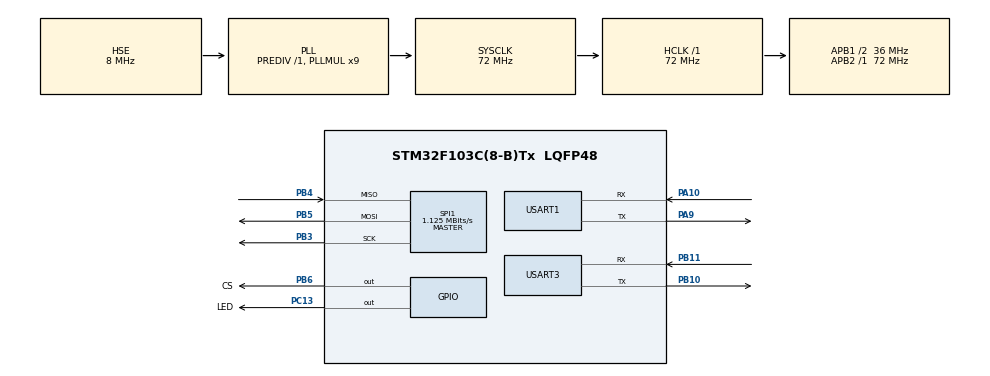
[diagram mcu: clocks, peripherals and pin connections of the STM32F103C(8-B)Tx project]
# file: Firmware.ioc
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Mcu.Family=STM32F1
Mcu.Name=STM32F103C(8-B)Tx
Mcu.Package=LQFP48
NVIC.PriorityGroup=NVIC_PRIORITYGROUP_4
NVIC.TIM3_IRQn=true\:1\:0\:true\:false\:true
PA10.Mode=Asynchronous
PA10.Signal=USART1_RX
PA13.Mode=Serial_Wire
PA13.Signal=SYS_JTMS-SWDIO
PA14.Mode=Serial_Wire
PA14.Signal=SYS_JTCK-SWCLK
PA9.Mode=Asynchronous
PA9.Signal=USART1_TX
PB10.Mode=Asynchronous
PB10.Signal=USART3_TX
PB11.Mode=Asynchronous
PB11.Signal=USART3_RX
PB3.Mode=Full_Duplex_Master
PB3.Signal=SPI1_SCK
PB4.Mode=Full_Duplex_Master
PB4.Signal=SPI1_MISO
PB5.Mode=Full_Duplex_Master
PB5.Signal=SPI1_MOSI
PB6.GPIO_Label=CS
PB6.Signal=GPIO_Output
PC13-TAMPER-RTC.GPIO_Label=LED
PC13-TAMPER-RTC.Signal=GPIO_Output
PD0-OSC_IN.Mode=HSE-External-Oscillator
PD0-OSC_IN.Signal=RCC_OSC_IN
PD1-OSC_OUT.Mode=HSE-External-Oscillator
PD1-OSC_OUT.Signal=RCC_OSC_OUT
ProjectManager.HeapSize=0x200
ProjectManager.StackSize=0x400
ProjectManager.TargetToolchain=SW4STM32
RCC.AHBFreq_Value=72000000
RCC.APB1CLKDivider=RCC_HCLK_DIV2
RCC.APB1Freq_Value=36000000
RCC.APB1TimFreq_Value=72000000
RCC.APB2Freq_Value=72000000
RCC.APB2TimFreq_Value=72000000
RCC.HCLKFreq_Value=72000000
RCC.HSIState=RCC_HSI_ON
RCC.PLLMUL=RCC_PLL_MUL9
RCC.PLLSourceVirtual=RCC_PLLSOURCE_HSE
RCC.SYSCLKFreq_VALUE=72000000
RCC.SYSCLKSource=RCC_SYSCLKSOURCE_PLLCLK
RCC.USBFreq_Value=72000000
SPI1.BaudRatePrescaler=SPI_BAUDRATEPRESCALER_64
SPI1.CalculateBaudRate=1.125 MBits/s
SPI1.Mode=SPI_MODE_MASTER
TIM3.Period=300
TIM3.Prescaler=36000
VP_TIM3_VS_ClockSourceINT.Mode=Internal
board=Firmware

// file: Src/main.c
/**
  ******************************************************************************
  * File Name          : main.c
  * Description        : Main program body
  ******************************************************************************
  *
  * COPYRIGHT(c) 2017 STMicroelectronics
  *
  * Redistribution and use in source and binary forms, with or without modification,
  * are permitted provided that the following conditions are met:
  *   1. Redistributions of source code must retain the above copyright notice,
  *      this list of conditions and the following disclaimer.
  *   2. Redistributions in binary form must reproduce the above copyright notice,
  *      this list of conditions and the following disclaimer in the documentation
  *      and/or other materials provided with the distribution.
  *   3. Neither the name of STMicroelectronics nor the names of its contributors
  *      may be used to endorse or promote products derived from this software
  *      without specific prior written permission.
  *
  * THIS SOFTWARE IS PROVIDED BY THE COPYRIGHT HOLDERS AND CONTRIBUTORS "AS IS"
  * AND ANY EXPRESS OR IMPLIED WARRANTIES, INCLUDING, BUT NOT LIMITED TO, THE
  * IMPLIED WARRANTIES OF MERCHANTABILITY AND FITNESS FOR A PARTICULAR PURPOSE ARE
  * DISCLAIMED. IN NO EVENT SHALL THE COPYRIGHT HOLDER OR CONTRIBUTORS BE LIABLE
  * FOR ANY DIRECT, INDIRECT, INCIDENTAL, SPECIAL, EXEMPLARY, OR CONSEQUENTIAL
  * DAMAGES (INCLUDING, BUT NOT LIMITED TO, PROCUREMENT OF SUBSTITUTE GOODS OR
  * SERVICES; LOSS OF USE, DATA, OR PROFITS; OR BUSINESS INTERRUPTION) HOWEVER
  * CAUSED AND ON ANY THEORY OF LIABILITY, WHETHER IN CONTRACT, STRICT LIABILITY,
  * OR TORT (INCLUDING NEGLIGENCE OR OTHERWISE) ARISING IN ANY WAY OUT OF THE USE
  * OF THIS SOFTWARE, EVEN IF ADVISED OF THE POSSIBILITY OF SUCH DAMAGE.
  *
  ******************************************************************************
  */
#include "main.h"
#include "stm32f1xx_hal.h"

/* USER CODE BEGIN Includes */

#include "enc28j60.h"
#include "ip_arp_udp_tcp.h"
#include "art_net.h"
#include "def.h"

/* USER CODE END Includes */

SPI_HandleTypeDef hspi1;

TIM_HandleTypeDef htim3;

UART_HandleTypeDef huart1;
UART_HandleTypeDef huart3;

/* USER CODE BEGIN PV */
/* Private variables ---------------------------------------------------------*/

uint8_t DMXBuffer[DMX_MAX];

static unsigned char mymac[6] = {0x54,0x55,0x58,0x10,0x00,0x24};
static unsigned char myip[4] = {192,168,0,15};

uint16_t currTick = 0;
uint16_t lastBlinkTick = 0;

/* USER CODE END PV */

void SystemClock_Config(void);
void Error_Handler(void);
static void MX_GPIO_Init(void);
static void MX_SPI1_Init(void);
static void MX_TIM3_Init(void);
static void MX_USART1_UART_Init(void);
static void MX_USART3_UART_Init(void);

/* USER CODE BEGIN PFP */
/* Private function prototypes -----------------------------------------------*/

int _write(int file, char *ptr, int len);
void DMXStart(void);
void DMXWrite(int channel, uint8_t value);
void DMXFlush(void);
void HAL_TIM_PeriodElapsedCallback(TIM_HandleTypeDef *htim);
void outs(char *str);
void HAL_SYSTICK_IRQHandler(void);

/* USER CODE END PFP */

int main(void)
{

  /* MCU Configuration----------------------------------------------------------*/

  /* Reset of all peripherals, Initializes the Flash interface and the Systick. */
  HAL_Init();

  /* Configure the system clock */
  SystemClock_Config();

  /* Initialize all configured peripherals */
  MX_GPIO_Init();
  MX_SPI1_Init();
  MX_TIM3_Init();
  MX_USART1_UART_Init();
  MX_USART3_UART_Init();

  SysTick_Config(SystemCoreClock / 1000);

  /* USER CODE BEGIN 2 */

  outs("Initial Setup complete");
  DMXStart();
  HAL_GPIO_WritePin(LED_GPIO_Port, LED_Pin, GPIO_PIN_RESET);
  HAL_TIM_Base_Start_IT(&htim3);

  outs("Setting up Eth");

  enc28j60Init(mymac);
  init_ip_arp_udp_tcp(mymac,myip);
  //enc28j60PhyWrite(PHLCON,0x7a4);
  enc28j60PhyWrite(PHLCON,0x476);
  enc28j60clkout(2); // change clkout from 6.25MHz to 12.5MHz

  char version;

  outs("Getting enc28j60 version");
  version = (char)enc28j60getrev();
  printf("Version is: %x\r\n", version);

  currTick = HAL_GetTick();
  lastBlinkTick = currTick;

  outs("Done with setup");

  /* USER CODE END 2 */

  /* Infinite loop */
  while (1)
  {

  /* USER CODE BEGIN 3 */

      artnet_server();

	  currTick = HAL_GetTick();
	  if(currTick - lastBlinkTick > blink_delay) {
		  HAL_GPIO_TogglePin(LED_GPIO_Port, LED_Pin);
		  lastBlinkTick = currTick;
	  }

  }
  /* USER CODE END 3 */

}

/** System Clock Configuration
*/
void SystemClock_Config(void)
{

  RCC_OscInitTypeDef RCC_OscInitStruct;
  RCC_ClkInitTypeDef RCC_ClkInitStruct;

    /**Initializes the CPU, AHB and APB busses clocks
    */
  RCC_OscInitStruct.OscillatorType = RCC_OSCILLATORTYPE_HSE;
  RCC_OscInitStruct.HSEState = RCC_HSE_ON;
  RCC_OscInitStruct.HSEPredivValue = RCC_HSE_PREDIV_DIV1;
  RCC_OscInitStruct.HSIState = RCC_HSI_ON;
  RCC_OscInitStruct.PLL.PLLState = RCC_PLL_ON;
  RCC_OscInitStruct.PLL.PLLSource = RCC_PLLSOURCE_HSE;
  RCC_OscInitStruct.PLL.PLLMUL = RCC_PLL_MUL9;
  if (HAL_RCC_OscConfig(&RCC_OscInitStruct) != HAL_OK)
  {
    Error_Handler();
  }

    /**Initializes the CPU, AHB and APB busses clocks
    */
  RCC_ClkInitStruct.ClockType = RCC_CLOCKTYPE_HCLK|RCC_CLOCKTYPE_SYSCLK
                              |RCC_CLOCKTYPE_PCLK1|RCC_CLOCKTYPE_PCLK2;
  RCC_ClkInitStruct.SYSCLKSource = RCC_SYSCLKSOURCE_PLLCLK;
  RCC_ClkInitStruct.AHBCLKDivider = RCC_SYSCLK_DIV1;
  RCC_ClkInitStruct.APB1CLKDivider = RCC_HCLK_DIV2;
  RCC_ClkInitStruct.APB2CLKDivider = RCC_HCLK_DIV1;

  if (HAL_RCC_ClockConfig(&RCC_ClkInitStruct, FLASH_LATENCY_2) != HAL_OK)
  {
    Error_Handler();
  }

    /**Configure the Systick interrupt time
    */
  HAL_SYSTICK_Config(HAL_RCC_GetHCLKFreq()/1000);

    /**Configure the Systick
    */
  HAL_SYSTICK_CLKSourceConfig(SYSTICK_CLKSOURCE_HCLK);

  /* SysTick_IRQn interrupt configuration */
  HAL_NVIC_SetPriority(SysTick_IRQn, 0, 0);
}

/* SPI1 init function */
static void MX_SPI1_Init(void)
{

  hspi1.Instance = SPI1;
  hspi1.Init.Mode = SPI_MODE_MASTER;
  hspi1.Init.Direction = SPI_DIRECTION_2LINES;
  hspi1.Init.DataSize = SPI_DATASIZE_8BIT;
  hspi1.Init.CLKPolarity = SPI_POLARITY_LOW;
  hspi1.Init.CLKPhase = SPI_PHASE_1EDGE;
  hspi1.Init.NSS = SPI_NSS_SOFT;
  hspi1.Init.BaudRatePrescaler = SPI_BAUDRATEPRESCALER_64;
  hspi1.Init.FirstBit = SPI_FIRSTBIT_MSB;
  hspi1.Init.TIMode = SPI_TIMODE_DISABLE;
  hspi1.Init.CRCCalculation = SPI_CRCCALCULATION_DISABLE;
  hspi1.Init.CRCPolynomial = 10;
  if (HAL_SPI_Init(&hspi1) != HAL_OK)
  {
    Error_Handler();
  }

}

/* TIM3 init function */
static void MX_TIM3_Init(void)
{

  TIM_ClockConfigTypeDef sClockSourceConfig;
  TIM_MasterConfigTypeDef sMasterConfig;

  htim3.Instance = TIM3;
  htim3.Init.Prescaler = 36000;
  htim3.Init.CounterMode = TIM_COUNTERMODE_UP;
  htim3.Init.Period = 150;
  htim3.Init.ClockDivision = TIM_CLOCKDIVISION_DIV1;
  if (HAL_TIM_Base_Init(&htim3) != HAL_OK)
  {
    Error_Handler();
  }

  sClockSourceConfig.ClockSource = TIM_CLOCKSOURCE_INTERNAL;
  if (HAL_TIM_ConfigClockSource(&htim3, &sClockSourceConfig) != HAL_OK)
  {
    Error_Handler();
  }

  sMasterConfig.MasterOutputTrigger = TIM_TRGO_RESET;
  sMasterConfig.MasterSlaveMode = TIM_MASTERSLAVEMODE_DISABLE;
  if (HAL_TIMEx_MasterConfigSynchronization(&htim3, &sMasterConfig) != HAL_OK)
  {
    Error_Handler();
  }

}

/* USART1 init function */
static void MX_USART1_UART_Init(void)
{

  huart1.Instance = USART1;
  huart1.Init.BaudRate = 115200;
  huart1.Init.WordLength = UART_WORDLENGTH_8B;
  huart1.Init.StopBits = UART_STOPBITS_2;
  huart1.Init.Parity = UART_PARITY_NONE;
  huart1.Init.Mode = UART_MODE_TX_RX;
  huart1.Init.HwFlowCtl = UART_HWCONTROL_NONE;
  huart1.Init.OverSampling = UART_OVERSAMPLING_16;
  if (HAL_UART_Init(&huart1) != HAL_OK)
  {
    Error_Handler();
  }

}

/* USART3 init function */
static void MX_USART3_UART_Init(void)
{

  huart3.Instance = USART3;
  huart3.Init.BaudRate = 115200;
  huart3.Init.WordLength = UART_WORDLENGTH_8B;
  huart3.Init.StopBits = UART_STOPBITS_1;
  huart3.Init.Parity = UART_PARITY_NONE;
  huart3.Init.Mode = UART_MODE_TX_RX;
  huart3.Init.HwFlowCtl = UART_HWCONTROL_NONE;
  huart3.Init.OverSampling = UART_OVERSAMPLING_16;
  if (HAL_UART_Init(&huart3) != HAL_OK)
  {
    Error_Handler();
  }

}

/** Configure pins as
        * Analog
        * Input
        * Output
        * EVENT_OUT
        * EXTI
*/
static void MX_GPIO_Init(void)
{

  GPIO_InitTypeDef GPIO_InitStruct;

  /* GPIO Ports Clock Enable */
  __HAL_RCC_GPIOC_CLK_ENABLE();
  __HAL_RCC_GPIOD_CLK_ENABLE();
  __HAL_RCC_GPIOB_CLK_ENABLE();
  __HAL_RCC_GPIOA_CLK_ENABLE();

  /*Configure GPIO pin Output Level */
  HAL_GPIO_WritePin(LED_GPIO_Port, LED_Pin, GPIO_PIN_RESET);

  /*Configure GPIO pin Output Level */
  HAL_GPIO_WritePin(CS_GPIO_Port, CS_Pin, GPIO_PIN_RESET);

  /*Configure GPIO pin : LED_Pin */
  GPIO_InitStruct.Pin = LED_Pin;
  GPIO_InitStruct.Mode = GPIO_MODE_OUTPUT_PP;
  GPIO_InitStruct.Speed = GPIO_SPEED_FREQ_LOW;
  HAL_GPIO_Init(LED_GPIO_Port, &GPIO_InitStruct);

  /*Configure GPIO pin : CS_Pin */
  GPIO_InitStruct.Pin = CS_Pin;
  GPIO_InitStruct.Mode = GPIO_MODE_OUTPUT_PP;
  GPIO_InitStruct.Speed = GPIO_SPEED_FREQ_LOW;
  HAL_GPIO_Init(CS_GPIO_Port, &GPIO_InitStruct);

}

/* USER CODE BEGIN 4 */

int _write(int file, char *ptr, int len){
    /* Implement your write code here, this is used by puts and printf for example */
    int i=0;
    for(i=0 ; i<len ; i++)
	HAL_UART_Transmit(&huart1,(uint8_t*)&(*ptr++),1,1);
    return len;
}

void dmx_out(int ch){
    HAL_UART_Transmit(&huart3,(uint8_t*)&ch,1,1);
}

void DMXStart(void)
{
    // Initialize the DMX Buffer
    for (int i = 0; i < DMX_MAX; i++) {
	DMXBuffer[i] = 0;
    }
}

void DMXWrite(int channel, uint8_t value)
{
    channel = (channel < 1)?1:channel;
    channel = (channel > DMX_MAX)?DMX_MAX:channel;
    value = (value > 0xff)?0xff:value;
    DMXBuffer[channel - 1] = value;
}

// Send all buffered DMX values
void DMXFlush(void)
{
    while(HAL_UART_GetState(&huart3) == HAL_UART_STATE_BUSY_TX); // Make sure uart is not busy

    // Send the break by sending a slow 0 byte
    huart3.Init.BaudRate = 125000;
    HAL_HalfDuplex_Init(&huart3);
    dmx_out(0x00);

    while(HAL_UART_GetState(&huart3) == HAL_UART_STATE_BUSY_TX); // Make sure uart is not busy

    // Now back to DMX speed: 250000baud
    huart3.Init.BaudRate = 250000;
    HAL_HalfDuplex_Init(&huart3);
    // Write start code
    dmx_out(0x00);

    // Send DMX values
    for(uint16_t channel = 0; channel < DMX_MAX; channel++)
    {
	dmx_out(DMXBuffer[channel]);
    }

}

void HAL_TIM_PeriodElapsedCallback(TIM_HandleTypeDef *htim)
{
    if (htim->Instance==TIM3) //check if the interrupt comes from TIM3
    {
	DMXFlush();
    }
}

void outs(char *str)
{
    printf("%s\r\n", str);
}

/* USER CODE END 4 */

void Error_Handler(void)
{
  /* USER CODE BEGIN Error_Handler */
    /* User can add his own implementation to report the HAL error return state */
    while(1)
    {
	printf("Error_Handler() called\r\n");
    }
  /* USER CODE END Error_Handler */
}

/************************ (C) COPYRIGHT STMicroelectronics *****END OF FILE****/
